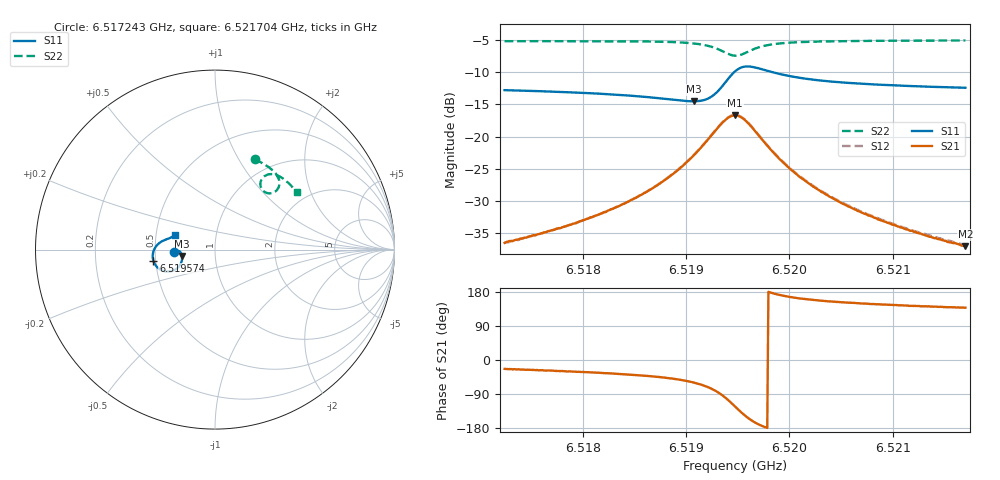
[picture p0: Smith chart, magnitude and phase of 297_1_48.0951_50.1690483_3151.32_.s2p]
#  HZ  S  RI  R  50.00
! Rohde & Schwarz Vector Network Analyzer
! Rohde-Schwarz,ZNB20-2Port,1311601062101988,3.16
! Created: UTC 12/23/2023, 4:04:22 AM
! freq[Hz]  re:S11  im:S11  re:S21  im:S21  re:S12  im:S12  re:S22  im:S22
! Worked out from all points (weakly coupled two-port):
!   401 points, 6.517243 GHz to 6.521704 GHz, reference 50 ohm
!   highest |S21| = -16.72 dB at 6.519474 GHz (marker M1); lowest = -37.0 dB at 6.521704 GHz (marker M2)
!   lowest |S11| = -14.5 dB at 6.519072 GHz (marker M3), VSWR 1.46, Z = 34.4 - j2.49 ohm
!   |S11| at or under -10 dB: start of sweep to 6.519467 GHz; 6.519834 GHz to end of sweep
!   |S22| runs from -7.5 to -5.1 dB; largest |S21 - S12| = 0.0045
!   S11 on the Smith chart (normalised r, x): 6.517243 GHz: 0.63, -0.02; 6.519574 GHz: 0.49, -0.07; 6.521704 GHz: 0.63, +0.11
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6.5172435e9  -0.2287 -0.0119  0.0138 -0.00596  0.014 -0.0056  0.2206 0.5025
6.517645e9  -0.2238 -0.00634  0.0161 -0.00856  0.0164 -0.0079  0.2501 0.4888
6.5179907e9  -0.2184 -0.00293  0.0189 -0.0117  0.0193 -0.011  0.2756 0.4747
6.5184256e9  -0.2085 -0.0021  0.0244 -0.019  0.0251 -0.0183  0.3082 0.4526
6.5187379e9  -0.1982 -0.00775  0.0304 -0.0303  0.0315 -0.0294  0.3327 0.4304
6.518894e9  -0.1916 -0.0159  0.0339 -0.0406  0.0354 -0.0397  0.3447 0.4145
6.5190724e9  -0.1843 -0.035  0.0363 -0.0613  0.0384 -0.0606  0.3568 0.3884
6.5191728e9  -0.1838 -0.055  0.0333 -0.0805  0.0361 -0.0801  0.3588 0.3671
6.5192508e9  -0.1902 -0.0771  0.0243 -0.1006  0.0275 -0.1005  0.3541 0.3465
6.5193066e9  -0.2025 -0.0958  0.0105 -0.1163  0.0141 -0.117  0.344 0.3308
6.5193847e9  -0.2376 -0.1188  -0.0243 -0.1333  -0.0205 -0.1351  0.3164 0.3143
6.5194739e9  -0.2987 -0.1144  -0.0786 -0.1229  -0.0758 -0.1263  0.2738 0.3231
6.5195185e9  -0.3251 -0.0947  -0.0999 -0.1028  -0.0977 -0.1064  0.2588 0.3406
6.5195743e9  -0.3436 -0.0614  -0.1125 -0.0717  -0.1114 -0.0757  0.2528 0.3666
6.5196858e9  -0.3409 -0.00384  -0.1037 -0.0228  -0.1039 -0.0259  0.2702 0.4045
6.5197973e9  -0.3208 0.0271  -0.0832 0.00036  -0.0838 -0.00194  0.2963 0.4186
6.5200092e9  -0.2895 0.0495  -0.0543 0.0133  -0.0554 0.0121  0.3345 0.4179
6.5202211e9  -0.2707 0.0574  -0.0387 0.015  -0.0396 0.0141  0.3599 0.4078
6.5205445e9  -0.2538 0.0637  -0.0259 0.0139  -0.0267 0.0134  0.3884 0.389
6.5209683e9  -0.2402 0.0697  -0.0176 0.0119  -0.0182 0.0117  0.4166 0.3637
6.521392e9  -0.2312 0.0753  -0.0127 0.0105  -0.0134 0.0102  0.4403 0.3376
6.5217043e9  -0.2254 0.0796  -0.0105 0.00945  -0.011 0.00945  0.4559 0.3184
